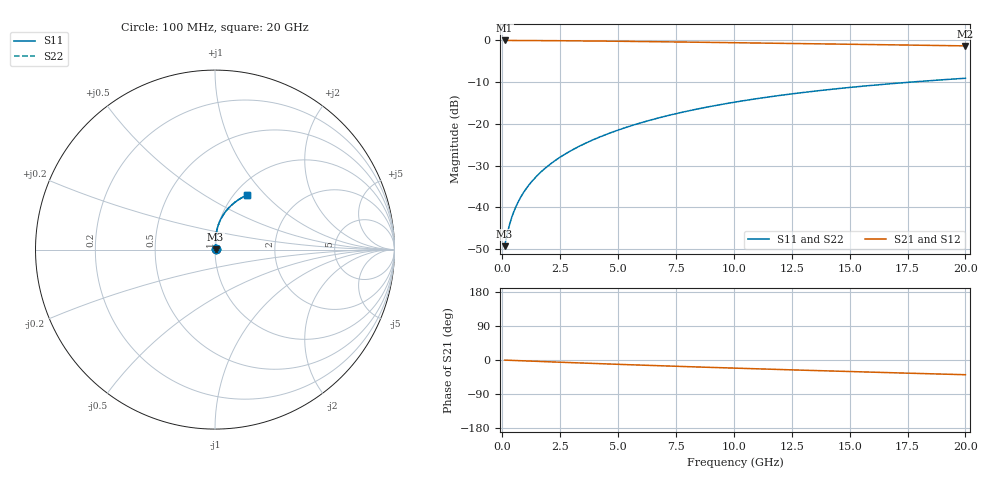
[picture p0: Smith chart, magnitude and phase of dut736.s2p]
! Touchstone file exported from HFSS 2024.1.0
!  File:  C:/UserFiles/LocalFiles/RDL_TSV_Batchsim/temp_RDL_top_736_1779851256.aedt
!  Generated:  11:10:02 AM May 27, 2026
!  Design:  RDL_top
!  Project:  temp_RDL_top_736_1779851256
!  Setup:  Setup1
!  Solution:  Sweep
! Variables:
!  dtsv = 10.80580581um
!  hbump = 3um
!  htsv = 58.54um
!  ldown = 100um
!  lrdl = 539.61um
!  p = 40
!  p1 = 53.67um
!  rhole = 1um
!  t = 450um
!  tdown = 3.915915916um
!  trdl = 2.84um
!  wdown = 15.38538539um
!  wrdl = 25.16um
# GHz S MA R 50.000000
! Terminal data exported
! Port[1] = Box2_T1
! Port[2] = Box2_T2
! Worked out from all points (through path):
!   200 points, 100 MHz to 20 GHz, reference 50 ohm
!   highest |S21| = -0.03 dB at 100 MHz (marker M1); lowest = -1.3 dB at 20 GHz (marker M2)
!   group delay of S21, straight-line fit = 5.34 ps
!   lowest |S11| = -49.3 dB at 100 MHz (marker M3), VSWR 1.01, Z = 50.3 + j0.178 ohm
!   |S11| at or under -10 dB: start of sweep to 17.63 GHz
!   |S22| runs from -49.3 to -9.1 dB; largest |S21 - S12| = 3.3e-15
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0.1  0.003437 31.0  0.997 -0.3  0.997 -0.3  0.003437 31.0
! Gamma 0 0 0 0
! Port Impedance 50 0 50 0
0.2  0.004641 48.6  0.9969 -0.5  0.9969 -0.5  0.004641 48.6
0.3  0.006046 57.8  0.9967 -0.7  0.9967 -0.7  0.006046 57.8
0.4  0.00749 63.4  0.9965 -1.0  0.9965 -1.0  0.00749 63.4
0.5  0.008939 67.2  0.9962 -1.2  0.9962 -1.2  0.008939 67.2
0.6  0.01039 70.1  0.996 -1.5  0.996 -1.5  0.01039 70.1
0.8  0.01332 74.1  0.9956 -1.9  0.9956 -1.9  0.01332 74.1
1.1  0.01779 78.1  0.995 -2.6  0.995 -2.6  0.0178 78.1
1.3  0.02084 79.9  0.9945 -3.1  0.9945 -3.1  0.02084 79.9
1.6  0.02548 81.8  0.9936 -3.8  0.9936 -3.8  0.02548 81.8
2.1  0.03343 83.9  0.9918 -5.0  0.9918 -5.0  0.03343 83.9
2.7  0.04331 85.3  0.9892 -6.3  0.9892 -6.3  0.04331 85.3
3.5  0.05703 86.2  0.9851 -8.2  0.9851 -8.2  0.05704 86.2
4.2  0.06953 86.3  0.9808 -9.7  0.9808 -9.7  0.06954 86.3
5  0.0843 85.9  0.9755 -11.4  0.9755 -11.4  0.08431 86.0
6.8  0.1188 83.9  0.9624 -15.2  0.9624 -15.2  0.1189 83.9
8.4  0.1502 81.3  0.9501 -18.4  0.9501 -18.4  0.1503 81.3
10.1  0.1834 78.2  0.9368 -21.6  0.9368 -21.6  0.1834 78.2
11.7  0.2138 75.0  0.9242 -24.6  0.9242 -24.6  0.2139 75.1
13.4  0.245 71.7  0.9107 -27.6  0.9107 -27.6  0.2451 71.7
16.7  0.3014 65.4  0.8847 -33.4  0.8847 -33.4  0.3015 65.4
20  0.3518 59.5  0.8588 -38.8  0.8588 -38.8  0.3519 59.5
